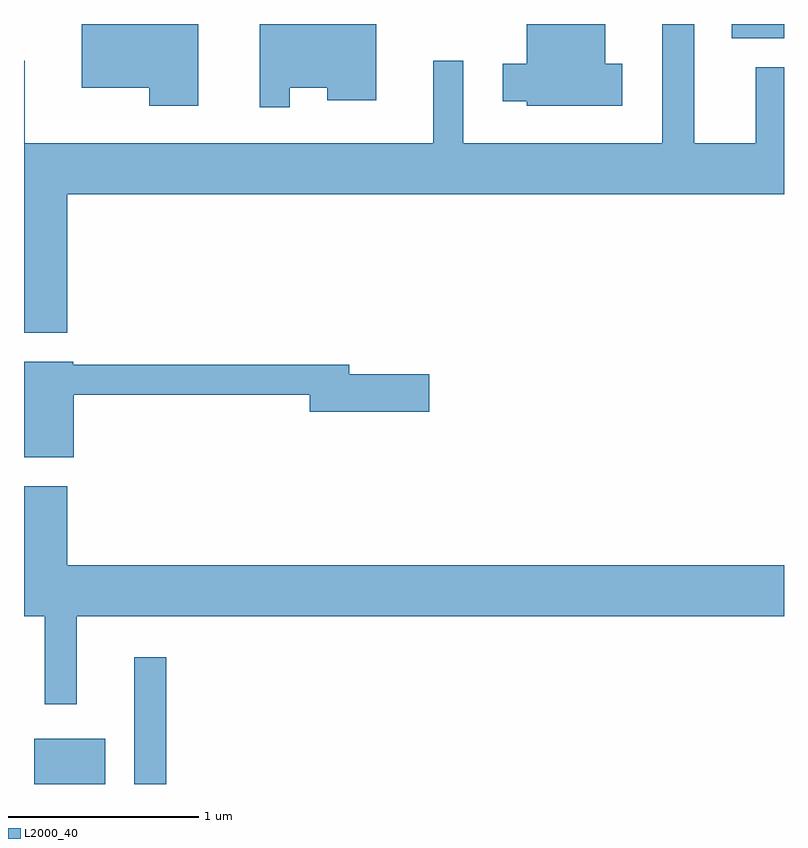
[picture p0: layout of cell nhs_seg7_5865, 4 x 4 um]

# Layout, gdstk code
import gdstk
lib = gdstk.Library(unit=1e-6, precision=1e-09)
def R(c, l, rs):  # rectangles x0, y0, x1, y1
    for r in rs: c.add(gdstk.rectangle(r[:2], r[2:], *l))
def P(c, l, *ps):  # polygons
    for p in ps: c.add(gdstk.Polygon(p, *l))
L2000_40 = (2000, 40)

nhs_seg7_5865 = lib.new_cell('nhs_seg7_5865')
R(nhs_seg7_5865, L2000_40, [(363.666,1782.252,364.039,1782.489), (364.191,1782.252,364.359,1782.918), (367.336,1786.176,367.611,1786.252)])
P(nhs_seg7_5865, L2000_40, [(363.839,1785.356),(367.611,1785.356),(367.611,1786.024),(367.461,1786.024),(367.461,1785.624),(367.139,1785.624),(367.139,1786.252),(366.971,1786.252),(366.971,1785.624),(365.924,1785.624),(365.924,1786.058),(365.766,1786.058),(365.766,1785.624),(363.614,1785.624),(363.614,1786.058),(363.611,1786.058),(363.611,1784.626),(363.839,1784.626)],
  [(366.759,1786.044),(366.669,1786.044),(366.669,1786.252),(366.256,1786.252),(366.256,1786.044),(366.131,1786.044),(366.131,1785.846),(366.256,1785.846),(366.256,1785.821),(366.759,1785.821)],
  [(365.009,1785.916),(365.206,1785.916),(365.206,1785.851),(365.464,1785.851),(365.464,1786.252),(364.851,1786.252),(364.851,1785.813),(365.009,1785.813)],
  [(364.529,1786.252),(363.916,1786.252),(363.916,1785.916),(364.271,1785.916),(364.271,1785.821),(364.529,1785.821)],
  [(363.874,1784.301),(365.116,1784.301),(365.116,1784.211),(365.744,1784.211),(365.744,1784.409),(365.324,1784.409),(365.324,1784.459),(363.87,1784.459),(363.87,1784.474),(363.611,1784.474),(363.611,1783.971),(363.874,1783.971)],
  [(363.889,1783.136),(367.611,1783.136),(367.611,1783.404),(363.839,1783.404),(363.839,1783.819),(363.611,1783.819),(363.611,1783.136),(363.721,1783.136),(363.721,1782.673),(363.889,1782.673)])

lib.write_gds('nhs_seg7_5865.gds')
